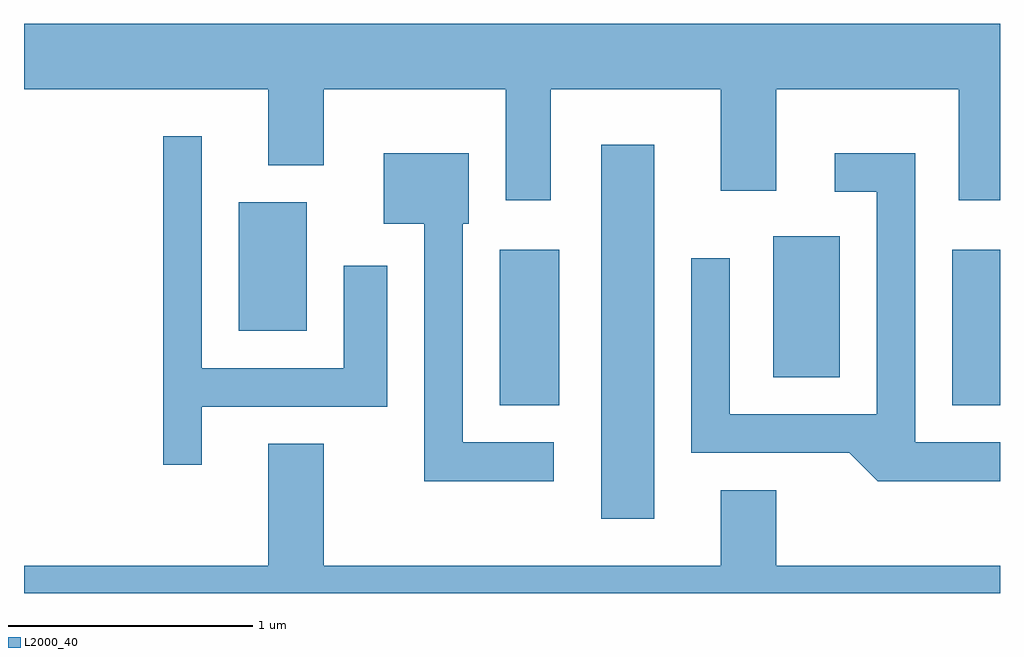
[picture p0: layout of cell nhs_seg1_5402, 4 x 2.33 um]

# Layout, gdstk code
import gdstk
lib = gdstk.Library(unit=1e-6, precision=1e-09)
def R(c, l, rs):  # rectangles x0, y0, x1, y1
    for r in rs: c.add(gdstk.rectangle(r[:2], r[2:], *l))
def P(c, l, *ps):  # polygons
    for p in ps: c.add(gdstk.Polygon(p, *l))
L2000_40 = (2000, 40)

nhs_seg1_5402 = lib.new_cell('nhs_seg1_5402')
R(nhs_seg1_5402, L2000_40, [(349.976,920.016,350.194,921.549), (349.561,920.481,349.804,921.119), (351.416,920.481,351.611,921.119), (350.681,920.596,350.954,921.174), (348.491,920.786,348.769,921.314)])
P(nhs_seg1_5402, L2000_40, [(349.769,921.776),(350.466,921.776),(350.466,921.361),(350.694,921.361),(350.694,921.776),(351.441,921.776),(351.441,921.321),(351.611,921.321),(351.611,922.044),(347.611,922.044),(347.611,921.776),(348.611,921.776),(348.611,921.466),(348.839,921.466),(348.839,921.776),(349.586,921.776),(349.586,921.321),(349.769,921.321)],
  [(348.339,920.476),(349.099,920.476),(349.099,921.054),(348.921,921.054),(348.921,920.634),(348.339,920.634),(348.339,921.583),(348.181,921.583),(348.181,920.238),(348.339,920.238)],
  [(349.783,920.329),(349.409,920.329),(349.409,921.226),(349.434,921.226),(349.434,921.514),(349.086,921.514),(349.086,921.226),(349.251,921.226),(349.251,920.171),(349.783,920.171)],
  [(351.611,920.329),(351.264,920.329),(351.264,921.514),(350.933,921.514),(350.933,921.356),(351.106,921.356),(351.106,920.444),(350.504,920.444),(350.504,921.083),(350.346,921.083),(350.346,920.286),(350.994,920.286),(351.109,920.171),(351.611,920.171)],
  [(351.611,919.824),(350.694,919.824),(350.694,920.134),(350.466,920.134),(350.466,919.824),(348.839,919.824),(348.839,920.324),(348.611,920.324),(348.611,919.824),(347.611,919.824),(347.611,919.712),(351.611,919.712)])

lib.write_gds('nhs_seg1_5402.gds')
